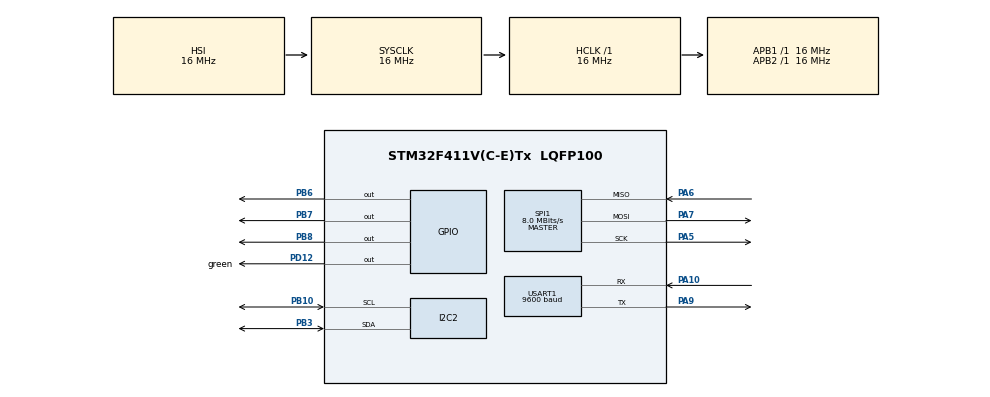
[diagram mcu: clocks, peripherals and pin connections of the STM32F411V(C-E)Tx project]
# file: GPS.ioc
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Dma.Request0=SPI1_TX
Dma.Request1=USART1_RX
Dma.SPI1_TX.0.Direction=DMA_MEMORY_TO_PERIPH
Dma.SPI1_TX.0.FIFOMode=DMA_FIFOMODE_DISABLE
Dma.SPI1_TX.0.Instance=DMA2_Stream2
Dma.SPI1_TX.0.MemDataAlignment=DMA_MDATAALIGN_BYTE
Dma.SPI1_TX.0.MemInc=DMA_MINC_ENABLE
Dma.SPI1_TX.0.Mode=DMA_NORMAL
Dma.SPI1_TX.0.PeriphDataAlignment=DMA_PDATAALIGN_BYTE
Dma.SPI1_TX.0.PeriphInc=DMA_PINC_DISABLE
Dma.SPI1_TX.0.Priority=DMA_PRIORITY_LOW
Dma.USART1_RX.1.Direction=DMA_PERIPH_TO_MEMORY
Dma.USART1_RX.1.FIFOMode=DMA_FIFOMODE_DISABLE
Dma.USART1_RX.1.Instance=DMA2_Stream5
Dma.USART1_RX.1.MemDataAlignment=DMA_MDATAALIGN_BYTE
Dma.USART1_RX.1.MemInc=DMA_MINC_ENABLE
Dma.USART1_RX.1.Mode=DMA_CIRCULAR
Dma.USART1_RX.1.PeriphDataAlignment=DMA_PDATAALIGN_BYTE
Dma.USART1_RX.1.PeriphInc=DMA_PINC_DISABLE
Dma.USART1_RX.1.Priority=DMA_PRIORITY_LOW
Mcu.Family=STM32F4
Mcu.Name=STM32F411V(C-E)Tx
Mcu.Package=LQFP100
NVIC.DMA2_Stream2_IRQn=true\:0\:0\:false\:false\:true\:false\:true\:true
NVIC.DMA2_Stream5_IRQn=true\:0\:0\:false\:false\:true\:false\:true\:true
NVIC.PriorityGroup=NVIC_PRIORITYGROUP_4
NVIC.USART1_IRQn=true\:0\:0\:false\:false\:true\:true\:true\:true
PA10.Mode=Asynchronous
PA10.Signal=USART1_RX
PA13.Mode=Serial_Wire
PA13.Signal=SYS_JTMS-SWDIO
PA14.Mode=Serial_Wire
PA14.Signal=SYS_JTCK-SWCLK
PA5.Mode=Full_Duplex_Master
PA5.Signal=SPI1_SCK
PA6.Mode=Full_Duplex_Master
PA6.Signal=SPI1_MISO
PA7.Mode=Full_Duplex_Master
PA7.Signal=SPI1_MOSI
PA9.Mode=Asynchronous
PA9.Signal=USART1_TX
PB10.Mode=I2C
PB10.Signal=I2C2_SCL
PB3.Mode=I2C
PB3.Signal=I2C2_SDA
PB6.GPIO_PuPd=GPIO_PULLUP
PB6.GPIO_Speed=GPIO_SPEED_FREQ_HIGH
PB6.PinState=GPIO_PIN_SET
PB6.Signal=GPIO_Output
PB7.GPIO_PuPd=GPIO_PULLUP
PB7.GPIO_Speed=GPIO_SPEED_FREQ_HIGH
PB7.PinState=GPIO_PIN_SET
PB7.Signal=GPIO_Output
PB8.GPIO_PuPd=GPIO_PULLUP
PB8.GPIO_Speed=GPIO_SPEED_FREQ_HIGH
PB8.PinState=GPIO_PIN_SET
PB8.Signal=GPIO_Output
PD12.GPIO_Label=green
PD12.Signal=GPIO_Output
PH0\ -\ OSC_IN.Mode=HSE-External-Oscillator
PH0\ -\ OSC_IN.Signal=RCC_OSC_IN
PH1\ -\ OSC_OUT.Mode=HSE-External-Oscillator
PH1\ -\ OSC_OUT.Signal=RCC_OSC_OUT
ProjectManager.HeapSize=0x200
ProjectManager.StackSize=0x400
ProjectManager.TargetToolchain=STM32CubeIDE
RCC.AHBFreq_Value=16000000
RCC.APB1Freq_Value=16000000
RCC.APB2Freq_Value=16000000
RCC.CortexFreq_Value=16000000
RCC.HSE_VALUE=25000000
RCC.HSI_VALUE=16000000
RCC.LSE_VALUE=32768
RCC.SYSCLKFreq_VALUE=16000000
RCC.VCOOutputFreq_Value=192000000
SPI1.CalculateBaudRate=8.0 MBits/s
SPI1.Direction=SPI_DIRECTION_2LINES
SPI1.Mode=SPI_MODE_MASTER
SPI1.VirtualType=VM_MASTER
USART1.BaudRate=9600
USART1.VirtualMode=VM_ASYNC
board=custom

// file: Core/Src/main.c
/* USER CODE BEGIN Header */
/**
  ******************************************************************************
  * @file           : main.c
  * @brief          : Main program body
  ******************************************************************************
  * @attention
  *
  * Copyright (c) 2025 STMicroelectronics.
  * All rights reserved.
  *
  * This software is licensed under terms that can be found in the LICENSE file
  * in the root directory of this software component.
  * If no LICENSE file comes with this software, it is provided AS-IS.
  *
  ******************************************************************************
  */
/* USER CODE END Header */
#include "main.h"

/* USER CODE BEGIN Includes */
#include "ILI9341_STM32_Driver.h"
#include "ILI9341_GFX.h"
#include "bme280.h"

/* USER CODE END Includes */

/* USER CODE BEGIN PD */
#define DMA_RX_BUFFER_SIZE 256
#define GPS_PROCESS_BUFFER_SIZE 256
/* USER CODE END PD */

I2C_HandleTypeDef hi2c2;

SPI_HandleTypeDef hspi1;
DMA_HandleTypeDef hdma_spi1_tx;

UART_HandleTypeDef huart1;
DMA_HandleTypeDef hdma_usart1_rx;

/* USER CODE BEGIN PV */
float temperature;
float humidity;
float pressure;

float last_t;
float last_h;
float last_p;

struct bme280_dev dev;
struct bme280_data comp_data;
int8_t rslt;

char hum_string[50];
char temp_string[50];
char press_string[50];

uint8_t g_dma_rx_buffer[DMA_RX_BUFFER_SIZE];

uint8_t g_gps_process_buffer[GPS_PROCESS_BUFFER_SIZE];
volatile uint16_t g_gps_data_size = 0;
volatile uint8_t g_gps_data_ready = 0;
/* USER CODE END PV */

void SystemClock_Config(void);
static void MX_GPIO_Init(void);
static void MX_DMA_Init(void);
static void MX_SPI1_Init(void);
static void MX_I2C2_Init(void);
static void MX_USART1_UART_Init(void);

/* USER CODE BEGIN 0 */
int8_t user_i2c_read(uint8_t id, uint8_t reg_addr, uint8_t *data, uint16_t len)
{
  if(HAL_I2C_Master_Transmit(&hi2c2, (id << 1), &reg_addr, 1, 10) != HAL_OK) return -1;
  if(HAL_I2C_Master_Receive(&hi2c2, (id << 1) | 0x01, data, len, 10) != HAL_OK) return -1;

  return 0;
}

void user_delay_ms(uint32_t period)
{
  HAL_Delay(period);
}

int8_t user_i2c_write(uint8_t id, uint8_t reg_addr, uint8_t *data, uint16_t len)
{
  int8_t *buf;
  buf = malloc(len +1);
  buf[0] = reg_addr;
  memcpy(buf +1, data, len);

  if(HAL_I2C_Master_Transmit(&hi2c2, (id << 1), (uint8_t*)buf, len + 1, HAL_MAX_DELAY) != HAL_OK) return -1;

  free(buf);
  return 0;
}

/* USER CODE END 0 */

int main(void)
{

  /* MCU Configuration--------------------------------------------------------*/

  /* Reset of all peripherals, Initializes the Flash interface and the Systick. */
  HAL_Init();

  /* Configure the system clock */
  SystemClock_Config();

  /* Initialize all configured peripherals */
  MX_GPIO_Init();
  MX_DMA_Init();
  MX_SPI1_Init();
  MX_I2C2_Init();
  MX_USART1_UART_Init();
  /* USER CODE BEGIN 2 */
  Init();
  dev.dev_id = BME280_I2C_ADDR_PRIM;
  dev.intf = BME280_I2C_INTF;
  dev.read = user_i2c_read;
  dev.write = user_i2c_write;
  dev.delay_ms = user_delay_ms;
  rslt = bme280_init(&dev);
  if (rslt != BME280_OK)
  {
      Error_Handler();
  }
  if(HAL_UARTEx_ReceiveToIdle_DMA(&huart1, g_dma_rx_buffer, DMA_RX_BUFFER_SIZE) != HAL_OK) {
	  Error_Handler();
  }
  __HAL_DMA_DISABLE_IT(huart1.hdmarx, DMA_IT_HT);
  dev.settings.osr_h = BME280_OVERSAMPLING_1X;
  dev.settings.osr_p = BME280_OVERSAMPLING_16X;
  dev.settings.osr_t = BME280_OVERSAMPLING_2X;
  dev.settings.filter = BME280_FILTER_COEFF_16;
  uint8_t settings_sel = BME280_OSR_PRESS_SEL | BME280_OSR_TEMP_SEL | BME280_OSR_HUM_SEL | BME280_FILTER_SEL;
  rslt = bme280_set_sensor_settings(settings_sel, &dev);
  if (rslt != BME280_OK)
  {
      Error_Handler();
  }
  /* USER CODE END 2 */

  /* Infinite loop */
  /* USER CODE BEGIN WHILE */
   SetRotation(SCREEN_HORIZONTAL_1);

   FillScreen(WHITE);

   DrawText("Device ID:", FONT2, 10, 10, BLACK, WHITE);
   DrawText("Coordinates:", FONT2, 10, 40, BLACK, WHITE);
   DrawText("Time (UTC):", FONT2, 10, 70, BLACK, WHITE);
   DrawText("GPS Info:", FONT2, 10, 100, BLACK, WHITE);

   uint32_t device_id_word0 = HAL_GetUIDw0();
   char id_str[20];
   sprintf(id_str, "0x%lX", device_id_word0);
   DrawText(id_str, FONT2, 110, 10, BLUE, WHITE);

   char coords_buffer[45];
   char time_buffer[20];

  while (1)
  {
	  rslt = bme280_set_sensor_mode(BME280_FORCED_MODE, &dev);
	  dev.delay_ms(40);
	  rslt = bme280_get_sensor_data(BME280_ALL, &comp_data, &dev);

	  if (g_gps_data_ready) {
		  char* line = strtok((char*)g_gps_process_buffer, "\r\n");

		            while (line != NULL)
		            {
		                if (strncmp(line, "$GNGGA", 6) == 0 ||
		                    strncmp(line, "$GPGGA", 6) == 0) {

		                    float nmea_time, nmea_lat, nmea_lon, altitude;
		                    char lat_dir, lon_dir;
		                    int fix_quality, num_sats;
		                    int hh, mm, ss;
		                    int lat_deg, lon_deg;
		                    float lat_min, lon_min;

		                    char sat_alt_buffer[40];

		                    // Find the first comma in THIS line
		                    const char* data_start = strchr(line, ',');
		                    if (data_start) {
		                        // Parse the data from this line
		                        int items = sscanf(data_start + 1, "%f,%f,%c,%f,%c,%d,%d,%*f,%f,",
		                                           &nmea_time, &nmea_lat, &lat_dir, &nmea_lon, &lon_dir,
		                                           &fix_quality, &num_sats, &altitude);

		                        if (items >= 8 && fix_quality > 0) {

		                            hh = (int)nmea_time / 10000;
		                            mm = ((int)nmea_time / 100) % 100;
		                            ss = (int)nmea_time % 100;
		                            sprintf(time_buffer, "%02d:%02d:%02d ", hh, mm, ss);

		                            lat_deg = (int)nmea_lat / 100;
		                            lat_min = nmea_lat - (lat_deg * 100);
		                            lon_deg = (int)nmea_lon / 100;
		                            lon_min = nmea_lon - (lon_deg * 100);

		                            sprintf(coords_buffer, "%c %d°%07.4f', %c %d°%07.4f'",
		                                      lat_dir, lat_deg, lat_min,
		                                      lon_dir, lon_deg, lon_min);

		                            sprintf(sat_alt_buffer, "Sats: %02d  Alt: %.1f m  ", num_sats, altitude);

		                            DrawText(coords_buffer, FONT2, 10, 55, RED, WHITE);
		                            DrawText(time_buffer, FONT2, 10, 85, RED, WHITE);
		                            DrawText(sat_alt_buffer, FONT2, 10, 115, RED, WHITE);

		                        } else {

		                            DrawText("No GPS Fix          ", FONT2, 10, 55, RED, WHITE);
		                            DrawText("Waiting...          ", FONT2, 10, 85, RED, WHITE);
		                            DrawText("Sats: --  Alt: --- m ", FONT2, 10, 115, RED, WHITE);
		                        }
		                    }
		                }

		                line = strtok(NULL, "\r\n");
		            }

		  g_gps_data_ready = 0;
	  }

	  if(rslt == BME280_OK)
		{
		  temperature = comp_data.temperature / 100.0;
		  humidity = comp_data.humidity / 1024.0;
		  pressure = comp_data.pressure / 10000.0;

		  last_t = temperature;
		  last_h = humidity;
		  last_p = pressure;

		  /*Display Data */
		  memset(hum_string, 0, sizeof(hum_string));
		  memset(temp_string, 0, sizeof(temp_string));
		  memset(press_string, 0, sizeof(press_string));

		  sprintf(hum_string, "Humidity %03.1f %%       ", humidity);
		  sprintf(temp_string, "Temperature %03.1f C      ", temperature);
		  sprintf(press_string, "Pressure %03.1f hPa       ", pressure);

		  DrawText(temp_string, FONT2, 10, 135, RED, WHITE);
		  DrawText(hum_string, FONT2, 10, 155, RED, WHITE);
		  DrawText(press_string, FONT2, 10, 175, RED, WHITE);
		} else {
		  memset(hum_string, 0, sizeof(hum_string));
		  memset(temp_string, 0, sizeof(temp_string));
		  memset(press_string, 0, sizeof(press_string));

		  sprintf(hum_string, "stale Humidity %03.1f %% ", last_h);
		  sprintf(temp_string, "stale Temperature %03.1f C ", last_t);
		  sprintf(press_string, "stale Pressure %03.1f hPa ", last_p);

		  DrawText(temp_string, FONT2, 10, 135, RED, WHITE);
		  DrawText(hum_string, FONT2, 10, 155, RED, WHITE);
		  DrawText(press_string, FONT2, 10, 175, RED, WHITE);
		}
    /* USER CODE END WHILE */

  }
}

void SystemClock_Config(void)
{
  RCC_OscInitTypeDef RCC_OscInitStruct = {0};
  RCC_ClkInitTypeDef RCC_ClkInitStruct = {0};

  /** Configure the main internal regulator output voltage
  */
  __HAL_RCC_PWR_CLK_ENABLE();
  __HAL_PWR_VOLTAGESCALING_CONFIG(PWR_REGULATOR_VOLTAGE_SCALE1);

  /** Initializes the RCC Oscillators according to the specified parameters
  * in the RCC_OscInitTypeDef structure.
  */
  RCC_OscInitStruct.OscillatorType = RCC_OSCILLATORTYPE_HSI;
  RCC_OscInitStruct.HSIState = RCC_HSI_ON;
  RCC_OscInitStruct.HSICalibrationValue = RCC_HSICALIBRATION_DEFAULT;
  RCC_OscInitStruct.PLL.PLLState = RCC_PLL_NONE;
  if (HAL_RCC_OscConfig(&RCC_OscInitStruct) != HAL_OK)
  {
    Error_Handler();
  }

  /** Initializes the CPU, AHB and APB buses clocks
  */
  RCC_ClkInitStruct.ClockType = RCC_CLOCKTYPE_HCLK|RCC_CLOCKTYPE_SYSCLK
                              |RCC_CLOCKTYPE_PCLK1|RCC_CLOCKTYPE_PCLK2;
  RCC_ClkInitStruct.SYSCLKSource = RCC_SYSCLKSOURCE_HSI;
  RCC_ClkInitStruct.AHBCLKDivider = RCC_SYSCLK_DIV1;
  RCC_ClkInitStruct.APB1CLKDivider = RCC_HCLK_DIV1;
  RCC_ClkInitStruct.APB2CLKDivider = RCC_HCLK_DIV1;

  if (HAL_RCC_ClockConfig(&RCC_ClkInitStruct, FLASH_LATENCY_0) != HAL_OK)
  {
    Error_Handler();
  }
}

static void MX_I2C2_Init(void)
{

  hi2c2.Instance = I2C2;
  hi2c2.Init.ClockSpeed = 100000;
  hi2c2.Init.DutyCycle = I2C_DUTYCYCLE_2;
  hi2c2.Init.OwnAddress1 = 0;
  hi2c2.Init.AddressingMode = I2C_ADDRESSINGMODE_7BIT;
  hi2c2.Init.DualAddressMode = I2C_DUALADDRESS_DISABLE;
  hi2c2.Init.OwnAddress2 = 0;
  hi2c2.Init.GeneralCallMode = I2C_GENERALCALL_DISABLE;
  hi2c2.Init.NoStretchMode = I2C_NOSTRETCH_DISABLE;
  if (HAL_I2C_Init(&hi2c2) != HAL_OK)
  {
    Error_Handler();
  }

}

static void MX_SPI1_Init(void)
{

  /* SPI1 parameter configuration*/
  hspi1.Instance = SPI1;
  hspi1.Init.Mode = SPI_MODE_MASTER;
  hspi1.Init.Direction = SPI_DIRECTION_2LINES;
  hspi1.Init.DataSize = SPI_DATASIZE_8BIT;
  hspi1.Init.CLKPolarity = SPI_POLARITY_LOW;
  hspi1.Init.CLKPhase = SPI_PHASE_1EDGE;
  hspi1.Init.NSS = SPI_NSS_SOFT;
  hspi1.Init.BaudRatePrescaler = SPI_BAUDRATEPRESCALER_2;
  hspi1.Init.FirstBit = SPI_FIRSTBIT_MSB;
  hspi1.Init.TIMode = SPI_TIMODE_DISABLE;
  hspi1.Init.CRCCalculation = SPI_CRCCALCULATION_DISABLE;
  hspi1.Init.CRCPolynomial = 10;
  if (HAL_SPI_Init(&hspi1) != HAL_OK)
  {
    Error_Handler();
  }

}

static void MX_USART1_UART_Init(void)
{

  huart1.Instance = USART1;
  huart1.Init.BaudRate = 9600;
  huart1.Init.WordLength = UART_WORDLENGTH_8B;
  huart1.Init.StopBits = UART_STOPBITS_1;
  huart1.Init.Parity = UART_PARITY_NONE;
  huart1.Init.Mode = UART_MODE_TX_RX;
  huart1.Init.HwFlowCtl = UART_HWCONTROL_NONE;
  huart1.Init.OverSampling = UART_OVERSAMPLING_16;
  if (HAL_UART_Init(&huart1) != HAL_OK)
  {
    Error_Handler();
  }

}

static void MX_DMA_Init(void)
{

  /* DMA controller clock enable */
  __HAL_RCC_DMA2_CLK_ENABLE();

  /* DMA interrupt init */
  /* DMA2_Stream2_IRQn interrupt configuration */
  HAL_NVIC_SetPriority(DMA2_Stream2_IRQn, 0, 0);
  HAL_NVIC_EnableIRQ(DMA2_Stream2_IRQn);
  /* DMA2_Stream5_IRQn interrupt configuration */
  HAL_NVIC_SetPriority(DMA2_Stream5_IRQn, 0, 0);
  HAL_NVIC_EnableIRQ(DMA2_Stream5_IRQn);

}

static void MX_GPIO_Init(void)
{
  GPIO_InitTypeDef GPIO_InitStruct = {0};

  /* GPIO Ports Clock Enable */
  __HAL_RCC_GPIOH_CLK_ENABLE();
  __HAL_RCC_GPIOA_CLK_ENABLE();
  __HAL_RCC_GPIOB_CLK_ENABLE();
  __HAL_RCC_GPIOD_CLK_ENABLE();

  /*Configure GPIO pin Output Level */
  HAL_GPIO_WritePin(green_GPIO_Port, green_Pin, GPIO_PIN_RESET);

  /*Configure GPIO pin Output Level */
  HAL_GPIO_WritePin(GPIOB, GPIO_PIN_6|GPIO_PIN_7|GPIO_PIN_8, GPIO_PIN_SET);

  /*Configure GPIO pin : green_Pin */
  GPIO_InitStruct.Pin = green_Pin;
  GPIO_InitStruct.Mode = GPIO_MODE_OUTPUT_PP;
  GPIO_InitStruct.Pull = GPIO_NOPULL;
  GPIO_InitStruct.Speed = GPIO_SPEED_FREQ_LOW;
  HAL_GPIO_Init(green_GPIO_Port, &GPIO_InitStruct);

  /*Configure GPIO pins : PB6 PB7 PB8 */
  GPIO_InitStruct.Pin = GPIO_PIN_6|GPIO_PIN_7|GPIO_PIN_8;
  GPIO_InitStruct.Mode = GPIO_MODE_OUTPUT_PP;
  GPIO_InitStruct.Pull = GPIO_PULLUP;
  GPIO_InitStruct.Speed = GPIO_SPEED_FREQ_HIGH;
  HAL_GPIO_Init(GPIOB, &GPIO_InitStruct);

}

/* USER CODE BEGIN 4 */

void HAL_UARTEx_RxEventCallback(UART_HandleTypeDef *huart, uint16_t Size) {
	if (huart->Instance == USART1) {

		if (Size > 0 && Size < GPS_PROCESS_BUFFER_SIZE) {
			memcpy(g_gps_process_buffer, g_dma_rx_buffer, Size);
			g_gps_process_buffer[Size] = '\0';

			g_gps_data_size = Size;
			g_gps_data_ready = 1;
		}

		HAL_UART_AbortReceive(&huart1);
		if (HAL_UARTEx_ReceiveToIdle_DMA(&huart1, g_dma_rx_buffer, DMA_RX_BUFFER_SIZE) != HAL_OK) {
			Error_Handler();
		}
		__HAL_DMA_DISABLE_IT(huart1.hdmarx, DMA_IT_HT);
	}
}

/* USER CODE END 4 */

void Error_Handler(void)
{
  __disable_irq();
  while (1)
  {
  }
}
